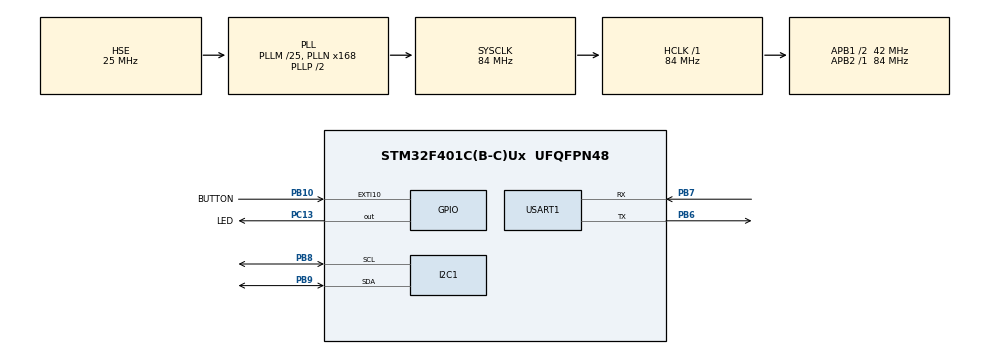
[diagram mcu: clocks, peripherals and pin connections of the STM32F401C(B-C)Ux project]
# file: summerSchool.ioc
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Mcu.Family=STM32F4
Mcu.Name=STM32F401C(B-C)Ux
Mcu.Package=UFQFPN48
NVIC.EXTI15_10_IRQn=true\:0\:0\:false\:false\:true\:true\:true\:true
NVIC.PriorityGroup=NVIC_PRIORITYGROUP_4
PA13.Mode=Serial_Wire
PA13.Signal=SYS_JTMS-SWDIO
PA14.Mode=Serial_Wire
PA14.Signal=SYS_JTCK-SWCLK
PB10.GPIO_Label=BUTTON
PB10.GPIO_ModeDefaultEXTI=GPIO_MODE_IT_RISING_FALLING
PB10.Signal=GPXTI10
PB6.Mode=Asynchronous
PB6.Signal=USART1_TX
PB7.Mode=Asynchronous
PB7.Signal=USART1_RX
PB8.GPIO_Pu=GPIO_PULLUP
PB8.Mode=I2C
PB8.Signal=I2C1_SCL
PB9.GPIO_Pu=GPIO_PULLUP
PB9.Mode=I2C
PB9.Signal=I2C1_SDA
PC13-ANTI_TAMP.GPIO_Label=LED
PC13-ANTI_TAMP.PinState=GPIO_PIN_RESET
PC13-ANTI_TAMP.Signal=GPIO_Output
PH0\ -\ OSC_IN.Mode=HSE-External-Oscillator
PH0\ -\ OSC_IN.Signal=RCC_OSC_IN
PH1\ -\ OSC_OUT.Mode=HSE-External-Oscillator
PH1\ -\ OSC_OUT.Signal=RCC_OSC_OUT
ProjectManager.HeapSize=0x200
ProjectManager.StackSize=0x400
ProjectManager.TargetToolchain=STM32CubeIDE
RCC.48MHZClocksFreq_Value=42000000
RCC.AHBFreq_Value=84000000
RCC.APB1CLKDivider=RCC_HCLK_DIV2
RCC.APB1Freq_Value=42000000
RCC.APB1TimFreq_Value=84000000
RCC.APB2Freq_Value=84000000
RCC.APB2TimFreq_Value=84000000
RCC.CortexFreq_Value=84000000
RCC.HCLKFreq_Value=84000000
RCC.HSE_VALUE=25000000
RCC.HSI_VALUE=16000000
RCC.LSE_VALUE=32768
RCC.PLLM=25
RCC.PLLN=168
RCC.PLLSourceVirtual=RCC_PLLSOURCE_HSE
RCC.SYSCLKFreq_VALUE=84000000
RCC.SYSCLKSource=RCC_SYSCLKSOURCE_PLLCLK
RCC.VCOOutputFreq_Value=168000000
TIM9.Period=65535
TIM9.Prescaler=0
USART1.VirtualMode=VM_ASYNC
VP_TIM9_VS_ClockSourceINT.Mode=Internal
board=custom

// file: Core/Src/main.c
/* USER CODE BEGIN Header */
/**
  ******************************************************************************
  * @file           : main.c
  * @brief          : Main program body
  ******************************************************************************
  * @attention
  *
  * Copyright (c) 2022 STMicroelectronics.
  * All rights reserved.
  *
  * This software is licensed under terms that can be found in the LICENSE file
  * in the root directory of this software component.
  * If no LICENSE file comes with this software, it is provided AS-IS.
  *
  ******************************************************************************
  */
/* USER CODE END Header */
#include "main.h"
#include "baro.h"

/* USER CODE BEGIN Includes */
#include <stdio.h>
#include <string.h>
#include <stdlib.h>

/* USER CODE END Includes */

/* USER CODE BEGIN PD */
#define countof(_a) (sizeof(_a) / sizeof(_a[0]))
/* USER CODE END PD */

I2C_HandleTypeDef hi2c1;

TIM_HandleTypeDef htim9;

UART_HandleTypeDef huart1;

void SystemClock_Config(void);
static void MX_GPIO_Init(void);
static void MX_TIM9_Init(void);
static void MX_USART1_UART_Init(void);
static void MX_I2C1_Init(void);

/* USER CODE BEGIN 0 */
uint32_t cnt = 0;
#define MAX_SAMPLES 50
static int32_t filter(int32_t sample) {
	static int32_t arr[MAX_SAMPLES] = {0};
	static uint32_t runner = 0;
	static uint32_t filled = 0;

	arr[runner] = sample;

	if(filled < MAX_SAMPLES) {
		++filled;
	}
	else {
		if(++runner == 	MAX_SAMPLES) {
			runner = 0;
		}
	}
	int64_t avg;

	for (uint32_t i = 0; i < filled; i++) {
		avg += arr[i];
	}

	avg /= filled;

	return (int32_t)avg;
}
/* USER CODE END 0 */

int main(void)
{

  /* MCU Configuration--------------------------------------------------------*/

  /* Reset of all peripherals, Initializes the Flash interface and the Systick. */
  HAL_Init();

  /* Configure the system clock */
  SystemClock_Config();

  /* Initialize all configured peripherals */
  MX_GPIO_Init();
  MX_TIM9_Init();
  MX_USART1_UART_Init();
  MX_I2C1_Init();
  /* USER CODE BEGIN 2 */
  char text[100] = {0};
  if(baro_init() != BARO_OK) {
	  snprintf(text, countof(text), "Baro init error!\n");
	  HAL_UART_Transmit(&huart1, (uint8_t*)text, strnlen(text, countof(text)), HAL_MAX_DELAY);
  }
  /* USER CODE END 2 */

  /* Infinite loop */
  /* USER CODE BEGIN WHILE */

  while (1)
  {
	  int32_t temp = baro_read_temp();
	  int32_t press = baro_read_press();

	  snprintf(text, countof(text), "/*%ld.%02ld,  %ld.%02ld*/\n", temp/100, temp%100, press/100, press%100);

	  //int32_t signal = sin(3.14 * cnt / 1000.0) * 50 + 50;
	  //int32_t signal_noised = signal + (rand() % 20) - 10;
	  //int32_t signal_filtered = filter(signal_noised);

	  //sprintf(text, "/*%ld,%ld,%ld*/\n", signal, signal_noised, signal_filtered);
	  //cnt++;
	  HAL_UART_Transmit(&huart1, (uint8_t*)text, strlen(text), HAL_MAX_DELAY);
    /* USER CODE END WHILE */

  }
}
//vcc-gnd-clk-cda
void SystemClock_Config(void)
{
  RCC_OscInitTypeDef RCC_OscInitStruct = {0};
  RCC_ClkInitTypeDef RCC_ClkInitStruct = {0};

  /** Configure the main internal regulator output voltage
  */
  __HAL_RCC_PWR_CLK_ENABLE();
  __HAL_PWR_VOLTAGESCALING_CONFIG(PWR_REGULATOR_VOLTAGE_SCALE2);

  /** Initializes the RCC Oscillators according to the specified parameters
  * in the RCC_OscInitTypeDef structure.
  */
  RCC_OscInitStruct.OscillatorType = RCC_OSCILLATORTYPE_HSE;
  RCC_OscInitStruct.HSEState = RCC_HSE_ON;
  RCC_OscInitStruct.PLL.PLLState = RCC_PLL_ON;
  RCC_OscInitStruct.PLL.PLLSource = RCC_PLLSOURCE_HSE;
  RCC_OscInitStruct.PLL.PLLM = 25;
  RCC_OscInitStruct.PLL.PLLN = 168;
  RCC_OscInitStruct.PLL.PLLP = RCC_PLLP_DIV2;
  RCC_OscInitStruct.PLL.PLLQ = 4;
  if (HAL_RCC_OscConfig(&RCC_OscInitStruct) != HAL_OK)
  {
    Error_Handler();
  }

  /** Initializes the CPU, AHB and APB buses clocks
  */
  RCC_ClkInitStruct.ClockType = RCC_CLOCKTYPE_HCLK|RCC_CLOCKTYPE_SYSCLK
                              |RCC_CLOCKTYPE_PCLK1|RCC_CLOCKTYPE_PCLK2;
  RCC_ClkInitStruct.SYSCLKSource = RCC_SYSCLKSOURCE_PLLCLK;
  RCC_ClkInitStruct.AHBCLKDivider = RCC_SYSCLK_DIV1;
  RCC_ClkInitStruct.APB1CLKDivider = RCC_HCLK_DIV2;
  RCC_ClkInitStruct.APB2CLKDivider = RCC_HCLK_DIV1;

  if (HAL_RCC_ClockConfig(&RCC_ClkInitStruct, FLASH_LATENCY_2) != HAL_OK)
  {
    Error_Handler();
  }
}

static void MX_I2C1_Init(void)
{

  hi2c1.Instance = I2C1;
  hi2c1.Init.ClockSpeed = 100000;
  hi2c1.Init.DutyCycle = I2C_DUTYCYCLE_2;
  hi2c1.Init.OwnAddress1 = 0;
  hi2c1.Init.AddressingMode = I2C_ADDRESSINGMODE_7BIT;
  hi2c1.Init.DualAddressMode = I2C_DUALADDRESS_DISABLE;
  hi2c1.Init.OwnAddress2 = 0;
  hi2c1.Init.GeneralCallMode = I2C_GENERALCALL_DISABLE;
  hi2c1.Init.NoStretchMode = I2C_NOSTRETCH_DISABLE;
  if (HAL_I2C_Init(&hi2c1) != HAL_OK)
  {
    Error_Handler();
  }

}

static void MX_TIM9_Init(void)
{

  TIM_ClockConfigTypeDef sClockSourceConfig = {0};

  htim9.Instance = TIM9;
  htim9.Init.Prescaler = 0;
  htim9.Init.CounterMode = TIM_COUNTERMODE_UP;
  htim9.Init.Period = 65535;
  htim9.Init.ClockDivision = TIM_CLOCKDIVISION_DIV1;
  htim9.Init.AutoReloadPreload = TIM_AUTORELOAD_PRELOAD_DISABLE;
  if (HAL_TIM_Base_Init(&htim9) != HAL_OK)
  {
    Error_Handler();
  }
  sClockSourceConfig.ClockSource = TIM_CLOCKSOURCE_INTERNAL;
  if (HAL_TIM_ConfigClockSource(&htim9, &sClockSourceConfig) != HAL_OK)
  {
    Error_Handler();
  }

}

static void MX_USART1_UART_Init(void)
{

  huart1.Instance = USART1;
  huart1.Init.BaudRate = 115200;
  huart1.Init.WordLength = UART_WORDLENGTH_8B;
  huart1.Init.StopBits = UART_STOPBITS_1;
  huart1.Init.Parity = UART_PARITY_NONE;
  huart1.Init.Mode = UART_MODE_TX_RX;
  huart1.Init.HwFlowCtl = UART_HWCONTROL_NONE;
  huart1.Init.OverSampling = UART_OVERSAMPLING_16;
  if (HAL_UART_Init(&huart1) != HAL_OK)
  {
    Error_Handler();
  }

}

static void MX_GPIO_Init(void)
{
  GPIO_InitTypeDef GPIO_InitStruct = {0};

  /* GPIO Ports Clock Enable */
  __HAL_RCC_GPIOC_CLK_ENABLE();
  __HAL_RCC_GPIOH_CLK_ENABLE();
  __HAL_RCC_GPIOB_CLK_ENABLE();
  __HAL_RCC_GPIOA_CLK_ENABLE();

  /*Configure GPIO pin Output Level */
  HAL_GPIO_WritePin(LED_GPIO_Port, LED_Pin, GPIO_PIN_RESET);

  /*Configure GPIO pin : LED_Pin */
  GPIO_InitStruct.Pin = LED_Pin;
  GPIO_InitStruct.Mode = GPIO_MODE_OUTPUT_PP;
  GPIO_InitStruct.Pull = GPIO_NOPULL;
  GPIO_InitStruct.Speed = GPIO_SPEED_FREQ_LOW;
  HAL_GPIO_Init(LED_GPIO_Port, &GPIO_InitStruct);

  /*Configure GPIO pin : BUTTON_Pin */
  GPIO_InitStruct.Pin = BUTTON_Pin;
  GPIO_InitStruct.Mode = GPIO_MODE_IT_RISING_FALLING;
  GPIO_InitStruct.Pull = GPIO_NOPULL;
  HAL_GPIO_Init(BUTTON_GPIO_Port, &GPIO_InitStruct);

  /* EXTI interrupt init*/
  HAL_NVIC_SetPriority(EXTI15_10_IRQn, 0, 0);
  HAL_NVIC_EnableIRQ(EXTI15_10_IRQn);

}

void Error_Handler(void)
{
  __disable_irq();
  while (1)
  {
  }
}
